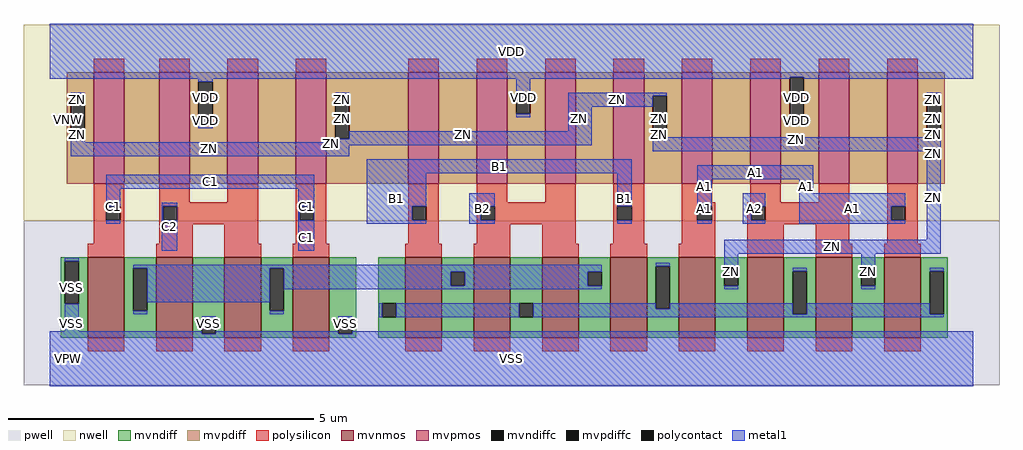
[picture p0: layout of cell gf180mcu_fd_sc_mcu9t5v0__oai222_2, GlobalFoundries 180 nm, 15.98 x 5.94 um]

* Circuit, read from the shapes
.subckt gf180mcu_fd_sc_mcu9t5v0__oai222_2 A1 A2 B1 B2 C1 C2 ZN VDD VNW VPW VSS
XM1 n1 C1 VSS VPW nfet_06v0 w=1.32u l=0.6u m=2
XM2 VSS C2 n1 VPW nfet_06v0 w=1.32u l=0.6u m=2
XM3 n1 B1 n2 VPW nfet_06v0 w=1.32u l=0.6u m=2
XM4 n2 B2 n1 VPW nfet_06v0 w=1.32u l=0.6u m=2
XM5 ZN A1 n2 VPW nfet_06v0 w=1.32u l=0.6u m=2
XM6 n2 A2 ZN VPW nfet_06v0 w=1.32u l=0.6u m=2
XM7 n3 C1 ZN VNW pfet_06v0 w=1.83u l=0.5u
XM8 VDD C2 n3 VNW pfet_06v0 w=1.83u l=0.5u
XM9 n4 C2 VDD VNW pfet_06v0 w=1.83u l=0.5u
XM10 ZN C1 n4 VNW pfet_06v0 w=1.83u l=0.5u
XM11 n5 B1 ZN VNW pfet_06v0 w=1.83u l=0.5u
XM12 VDD B2 n5 VNW pfet_06v0 w=1.83u l=0.5u
XM13 n6 B2 VDD VNW pfet_06v0 w=1.83u l=0.5u
XM14 ZN B1 n6 VNW pfet_06v0 w=1.83u l=0.5u
XM15 n7 A1 ZN VNW pfet_06v0 w=1.83u l=0.5u
XM16 VDD A2 n7 VNW pfet_06v0 w=1.83u l=0.5u
XM17 n8 A2 VDD VNW pfet_06v0 w=1.83u l=0.5u
XM18 ZN A1 n8 VNW pfet_06v0 w=1.83u l=0.5u
.ends

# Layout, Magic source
magic
tech gf180mcuD
magscale 1 10
<< nwell >>
rect -86 453 3110 1094
<< pwell >>
rect -86 -86 3110 453
<< mvnmos >>
rect 124 69 244 333
rect 348 69 468 333
rect 572 69 692 333
rect 796 69 916 333
rect 1164 69 1284 333
rect 1388 69 1508 333
rect 1612 69 1732 333
rect 1836 69 1956 333
rect 2060 69 2180 333
rect 2284 69 2404 333
rect 2508 69 2628 333
rect 2732 69 2852 333
<< mvpmos >>
rect 144 573 244 939
rect 358 573 458 939
rect 582 573 682 939
rect 806 573 906 939
rect 1174 573 1274 939
rect 1398 573 1498 939
rect 1622 573 1722 939
rect 1846 573 1946 939
rect 2070 573 2170 939
rect 2294 573 2394 939
rect 2518 573 2618 939
rect 2742 573 2842 939
<< mvndiff >>
rect 36 320 124 333
rect 36 180 49 320
rect 95 180 124 320
rect 36 69 124 180
rect 244 297 348 333
rect 244 157 273 297
rect 319 157 348 297
rect 244 69 348 157
rect 468 128 572 333
rect 468 82 497 128
rect 543 82 572 128
rect 468 69 572 82
rect 692 297 796 333
rect 692 157 721 297
rect 767 157 796 297
rect 692 69 796 157
rect 916 128 1004 333
rect 916 82 945 128
rect 991 82 1004 128
rect 916 69 1004 82
rect 1076 182 1164 333
rect 1076 136 1089 182
rect 1135 136 1164 182
rect 1076 69 1164 136
rect 1284 285 1388 333
rect 1284 239 1313 285
rect 1359 239 1388 285
rect 1284 69 1388 239
rect 1508 182 1612 333
rect 1508 136 1537 182
rect 1583 136 1612 182
rect 1508 69 1612 136
rect 1732 285 1836 333
rect 1732 239 1761 285
rect 1807 239 1836 285
rect 1732 69 1836 239
rect 1956 304 2060 333
rect 1956 164 1985 304
rect 2031 164 2060 304
rect 1956 69 2060 164
rect 2180 285 2284 333
rect 2180 239 2209 285
rect 2255 239 2284 285
rect 2180 69 2284 239
rect 2404 287 2508 333
rect 2404 147 2433 287
rect 2479 147 2508 287
rect 2404 69 2508 147
rect 2628 285 2732 333
rect 2628 239 2657 285
rect 2703 239 2732 285
rect 2628 69 2732 239
rect 2852 287 2940 333
rect 2852 147 2881 287
rect 2927 147 2940 287
rect 2852 69 2940 147
<< mvpdiff >>
rect 56 861 144 939
rect 56 721 69 861
rect 115 721 144 861
rect 56 573 144 721
rect 244 573 358 939
rect 458 907 582 939
rect 458 767 487 907
rect 533 767 582 907
rect 458 573 582 767
rect 682 573 806 939
rect 906 861 1174 939
rect 906 721 935 861
rect 981 721 1174 861
rect 906 573 1174 721
rect 1274 573 1398 939
rect 1498 849 1622 939
rect 1498 803 1527 849
rect 1573 803 1622 849
rect 1498 573 1622 803
rect 1722 573 1846 939
rect 1946 861 2070 939
rect 1946 721 1975 861
rect 2021 721 2070 861
rect 1946 573 2070 721
rect 2170 573 2294 939
rect 2394 923 2518 939
rect 2394 783 2423 923
rect 2469 783 2518 923
rect 2394 573 2518 783
rect 2618 573 2742 939
rect 2842 861 2930 939
rect 2842 721 2871 861
rect 2917 721 2930 861
rect 2842 573 2930 721
<< mvndiffc >>
rect 49 180 95 320
rect 273 157 319 297
rect 497 82 543 128
rect 721 157 767 297
rect 945 82 991 128
rect 1089 136 1135 182
rect 1313 239 1359 285
rect 1537 136 1583 182
rect 1761 239 1807 285
rect 1985 164 2031 304
rect 2209 239 2255 285
rect 2433 147 2479 287
rect 2657 239 2703 285
rect 2881 147 2927 287
<< mvpdiffc >>
rect 69 721 115 861
rect 487 767 533 907
rect 935 721 981 861
rect 1527 803 1573 849
rect 1975 721 2021 861
rect 2423 783 2469 923
rect 2871 721 2917 861
<< polysilicon >>
rect 144 939 244 983
rect 358 939 458 983
rect 582 939 682 983
rect 806 939 906 983
rect 1174 939 1274 983
rect 1398 939 1498 983
rect 1622 939 1722 983
rect 1846 939 1946 983
rect 2070 939 2170 983
rect 2294 939 2394 983
rect 2518 939 2618 983
rect 2742 939 2842 983
rect 144 500 244 573
rect 144 454 185 500
rect 231 454 244 500
rect 144 377 244 454
rect 358 513 458 573
rect 582 513 682 573
rect 358 500 682 513
rect 358 454 371 500
rect 417 454 682 500
rect 358 441 682 454
rect 358 377 468 441
rect 124 333 244 377
rect 348 333 468 377
rect 572 377 682 441
rect 806 500 906 573
rect 806 454 819 500
rect 865 454 906 500
rect 806 377 906 454
rect 1174 500 1274 573
rect 1174 454 1187 500
rect 1233 454 1274 500
rect 1174 377 1274 454
rect 1398 513 1498 573
rect 1622 513 1722 573
rect 1398 500 1722 513
rect 1398 454 1411 500
rect 1457 454 1722 500
rect 1398 441 1722 454
rect 1398 377 1508 441
rect 572 333 692 377
rect 796 333 916 377
rect 1164 333 1284 377
rect 1388 333 1508 377
rect 1612 377 1722 441
rect 1846 500 1946 573
rect 1846 454 1859 500
rect 1905 454 1946 500
rect 1846 377 1946 454
rect 2070 513 2170 573
rect 2294 513 2394 573
rect 2518 513 2618 573
rect 2070 500 2180 513
rect 2070 454 2121 500
rect 2167 454 2180 500
rect 2070 377 2180 454
rect 1612 333 1732 377
rect 1836 333 1956 377
rect 2060 333 2180 377
rect 2284 500 2618 513
rect 2284 454 2297 500
rect 2343 454 2618 500
rect 2284 441 2618 454
rect 2284 333 2404 441
rect 2508 377 2618 441
rect 2742 500 2842 573
rect 2742 454 2755 500
rect 2801 454 2842 500
rect 2742 377 2842 454
rect 2508 333 2628 377
rect 2732 333 2852 377
rect 124 25 244 69
rect 348 25 468 69
rect 572 25 692 69
rect 796 25 916 69
rect 1164 25 1284 69
rect 1388 25 1508 69
rect 1612 25 1732 69
rect 1836 25 1956 69
rect 2060 25 2180 69
rect 2284 25 2404 69
rect 2508 25 2628 69
rect 2732 25 2852 69
<< polycontact >>
rect 185 454 231 500
rect 371 454 417 500
rect 819 454 865 500
rect 1187 454 1233 500
rect 1411 454 1457 500
rect 1859 454 1905 500
rect 2121 454 2167 500
rect 2297 454 2343 500
rect 2755 454 2801 500
<< metal1 >>
rect 0 923 3024 1098
rect 0 918 2423 923
rect 487 907 533 918
rect 69 861 115 872
rect 487 756 533 767
rect 935 861 981 872
rect 69 710 115 721
rect 1527 849 1573 918
rect 1527 792 1573 803
rect 1698 861 2021 872
rect 1698 826 1975 861
rect 1698 746 1774 826
rect 981 721 1774 746
rect 935 710 1774 721
rect 69 700 1774 710
rect 2469 918 3024 923
rect 2423 772 2469 783
rect 2871 861 2917 872
rect 2021 721 2871 726
rect 69 664 980 700
rect 1975 680 2917 721
rect 1038 608 1905 654
rect 185 557 866 603
rect 185 500 231 557
rect 185 443 231 454
rect 366 500 418 511
rect 366 454 371 500
rect 417 454 418 500
rect 366 354 418 454
rect 814 500 866 557
rect 814 454 819 500
rect 865 454 866 500
rect 814 354 866 454
rect 1038 500 1233 608
rect 1038 454 1187 500
rect 1038 443 1233 454
rect 1374 500 1457 542
rect 1374 454 1411 500
rect 1374 443 1457 454
rect 1859 500 1905 608
rect 1859 443 1905 454
rect 2121 588 2500 634
rect 2121 500 2167 588
rect 2454 542 2500 588
rect 2121 443 2167 454
rect 2270 500 2343 542
rect 2270 454 2297 500
rect 2270 443 2343 454
rect 2454 500 2801 542
rect 2454 454 2755 500
rect 2454 443 2801 454
rect 2871 390 2917 680
rect 2209 344 2917 390
rect 49 320 95 331
rect 49 90 95 180
rect 273 297 1807 308
rect 319 185 721 297
rect 273 146 319 157
rect 767 285 1807 297
rect 767 239 1313 285
rect 1359 239 1761 285
rect 767 228 1807 239
rect 1985 304 2031 315
rect 721 146 767 157
rect 497 128 543 139
rect 0 82 497 90
rect 945 128 991 139
rect 1078 136 1089 182
rect 1135 136 1537 182
rect 1583 164 1985 182
rect 2209 285 2255 344
rect 2209 228 2255 239
rect 2433 287 2479 298
rect 2031 164 2433 182
rect 1583 147 2433 164
rect 2657 285 2703 344
rect 2657 228 2703 239
rect 2881 287 2927 298
rect 2479 147 2881 182
rect 1583 136 2927 147
rect 543 82 945 90
rect 991 82 3024 90
rect 0 -90 3024 82
<< labels >>
flabel metal1 s 2121 588 2500 634 0 FreeSans 200 0 0 0 A1
port 1 nsew default input
flabel metal1 s 2270 443 2343 542 0 FreeSans 200 0 0 0 A2
port 2 nsew default input
flabel metal1 s 1038 608 1905 654 0 FreeSans 200 0 0 0 B1
port 3 nsew default input
flabel metal1 s 1374 443 1457 542 0 FreeSans 200 0 0 0 B2
port 4 nsew default input
flabel metal1 s 185 557 866 603 0 FreeSans 200 0 0 0 C1
port 5 nsew default input
flabel metal1 s 366 354 418 511 0 FreeSans 200 0 0 0 C2
port 6 nsew default input
flabel metal1 s 0 918 3024 1098 0 FreeSans 200 0 0 0 VDD
port 8 nsew power bidirectional abutment
flabel metal1 s 49 139 95 331 0 FreeSans 200 0 0 0 VSS
port 11 nsew ground bidirectional abutment
flabel metal1 s 2871 826 2917 872 0 FreeSans 200 0 0 0 ZN
port 7 nsew default output
flabel nwell s 10 734 110 834 0 FreeSans 400 0 0 0 VNW
port 9 nsew power bidirectional
flabel pwell s 10 -50 110 50 0 FreeSans 400 0 0 0 VPW
port 10 nsew ground bidirectional
rlabel metal1 s 2454 542 2500 588 1 A1
port 1 nsew default input
rlabel metal1 s 2121 542 2167 588 1 A1
port 1 nsew default input
rlabel metal1 s 2454 443 2801 542 1 A1
port 1 nsew default input
rlabel metal1 s 2121 443 2167 542 1 A1
port 1 nsew default input
rlabel metal1 s 1859 443 1905 608 1 B1
port 3 nsew default input
rlabel metal1 s 1038 443 1233 608 1 B1
port 3 nsew default input
rlabel metal1 s 814 443 866 557 1 C1
port 5 nsew default input
rlabel metal1 s 185 443 231 557 1 C1
port 5 nsew default input
rlabel metal1 s 814 354 866 443 1 C1
port 5 nsew default input
rlabel metal1 s 1698 826 2021 872 1 ZN
port 7 nsew default output
rlabel metal1 s 935 826 981 872 1 ZN
port 7 nsew default output
rlabel metal1 s 69 826 115 872 1 ZN
port 7 nsew default output
rlabel metal1 s 2871 746 2917 826 1 ZN
port 7 nsew default output
rlabel metal1 s 1975 746 2021 826 1 ZN
port 7 nsew default output
rlabel metal1 s 1698 746 1774 826 1 ZN
port 7 nsew default output
rlabel metal1 s 935 746 981 826 1 ZN
port 7 nsew default output
rlabel metal1 s 69 746 115 826 1 ZN
port 7 nsew default output
rlabel metal1 s 2871 726 2917 746 1 ZN
port 7 nsew default output
rlabel metal1 s 1975 726 2021 746 1 ZN
port 7 nsew default output
rlabel metal1 s 935 726 1774 746 1 ZN
port 7 nsew default output
rlabel metal1 s 69 726 115 746 1 ZN
port 7 nsew default output
rlabel metal1 s 1975 710 2917 726 1 ZN
port 7 nsew default output
rlabel metal1 s 935 710 1774 726 1 ZN
port 7 nsew default output
rlabel metal1 s 69 710 115 726 1 ZN
port 7 nsew default output
rlabel metal1 s 1975 700 2917 710 1 ZN
port 7 nsew default output
rlabel metal1 s 69 700 1774 710 1 ZN
port 7 nsew default output
rlabel metal1 s 1975 680 2917 700 1 ZN
port 7 nsew default output
rlabel metal1 s 69 680 980 700 1 ZN
port 7 nsew default output
rlabel metal1 s 2871 664 2917 680 1 ZN
port 7 nsew default output
rlabel metal1 s 69 664 980 680 1 ZN
port 7 nsew default output
rlabel metal1 s 2871 390 2917 664 1 ZN
port 7 nsew default output
rlabel metal1 s 2209 344 2917 390 1 ZN
port 7 nsew default output
rlabel metal1 s 2657 228 2703 344 1 ZN
port 7 nsew default output
rlabel metal1 s 2209 228 2255 344 1 ZN
port 7 nsew default output
rlabel metal1 s 2423 792 2469 918 1 VDD
port 8 nsew power bidirectional abutment
rlabel metal1 s 1527 792 1573 918 1 VDD
port 8 nsew power bidirectional abutment
rlabel metal1 s 487 792 533 918 1 VDD
port 8 nsew power bidirectional abutment
rlabel metal1 s 2423 772 2469 792 1 VDD
port 8 nsew power bidirectional abutment
rlabel metal1 s 487 772 533 792 1 VDD
port 8 nsew power bidirectional abutment
rlabel metal1 s 487 756 533 772 1 VDD
port 8 nsew power bidirectional abutment
rlabel metal1 s 945 90 991 139 1 VSS
port 11 nsew ground bidirectional abutment
rlabel metal1 s 497 90 543 139 1 VSS
port 11 nsew ground bidirectional abutment
rlabel metal1 s 49 90 95 139 1 VSS
port 11 nsew ground bidirectional abutment
rlabel metal1 s 0 -90 3024 90 1 VSS
port 11 nsew ground bidirectional abutment
<< properties >>
string FIXED_BBOX 0 0 3024 1008
string GDS_END 252178
string GDS_FILE $PDKPATH/libs.ref/gf180mcu_fd_sc_mcu9t5v0/gds/gf180mcu_fd_sc_mcu9t5v0.gds
string GDS_START 245430
string LEFclass core
string LEFsite GF018hv5v_green_sc9
string LEFsymmetry X Y
<< end >>
